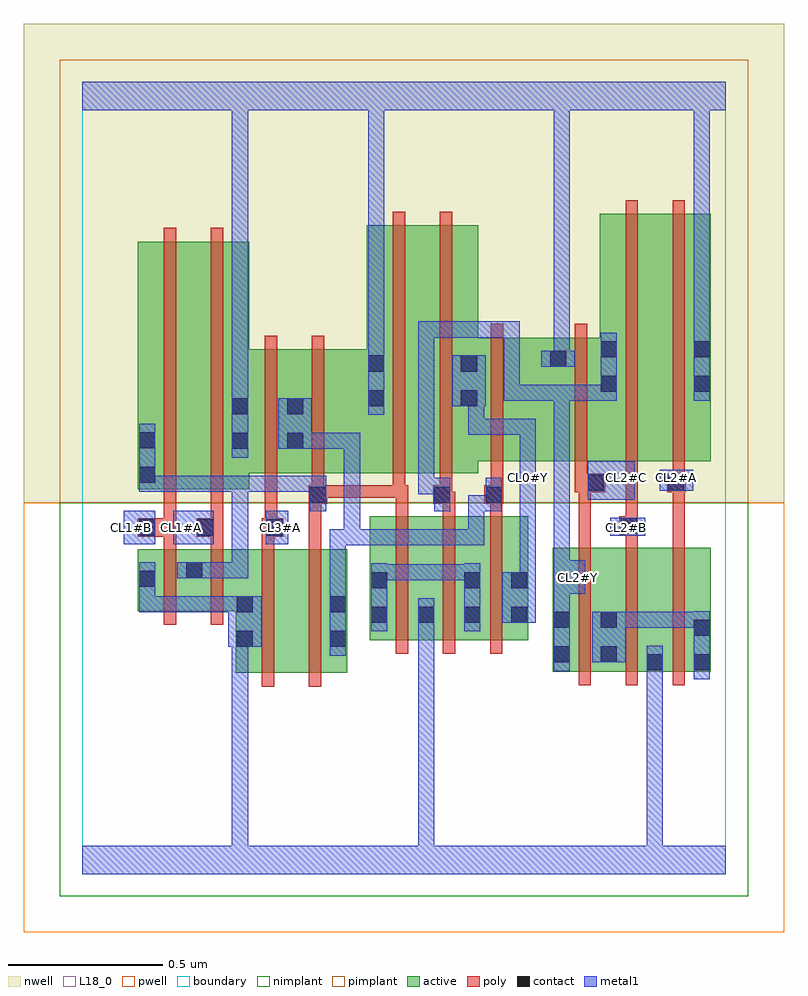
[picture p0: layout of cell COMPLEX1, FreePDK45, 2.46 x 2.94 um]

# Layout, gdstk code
import gdstk
lib = gdstk.Library(unit=1e-6, precision=1e-09)
def R(c, l, rs):  # rectangles x0, y0, x1, y1
    for r in rs: c.add(gdstk.rectangle(r[:2], r[2:], *l))
def A(c, l, x, y, w, h, nx, ny, dx, dy):  # array of equal rectangles
    R(c, l, [(x+i*dx, y+j*dy, x+i*dx+w, y+j*dy+h) for i in range(nx) for j in range(ny)])
active = (1, 0)
pwell = (2, 0)
nwell = (3, 0)
nimplant = (4, 0)
pimplant = (5, 0)
poly = (9, 0)
contact = (10, 0)
metal1 = (11, 0)
L18_0 = (18, 0)
boundary = (235, 0)

complex1 = lib.new_cell('COMPLEX1')
R(complex1, active, [(0.496,0.65,0.676,1.05), (0.676,0.65,0.856,1.05), (0.796,0.65,0.856,1.05), (1.52,0.654,1.58,1.054), (1.52,0.654,1.732,1.054), (1.672,0.654,1.88,1.054), (1.672,0.654,1.732,0.852), (1.82,0.654,2.032,1.054), (1.82,0.654,1.88,0.714), (1.972,0.654,2.032,1.054), (0.496,0.73,0.556,1.008), (0.93,0.756,0.99,1.156), (0.93,0.756,1.142,1.156), (1.082,0.756,1.142,1.156), (1.082,0.756,1.29,1.156), (1.23,0.756,1.29,1.156), (1.23,0.756,1.442,1.156), (1.382,0.756,1.442,1.156), (0.18,0.85,0.392,1.05), (0.18,0.85,0.24,1.05), (0.332,0.85,0.556,1.05), (0.332,0.85,0.392,1.028), (0.18,1.244,0.36,2.044), (0.18,1.244,0.24,2.044), (0.36,1.244,0.54,2.044), (0.48,1.296,0.718,1.696), (0.48,1.296,0.54,2.044), (0.658,1.296,0.718,1.696), (0.658,1.296,0.98,1.696), (0.92,1.296,1.1,2.096), (0.92,1.296,0.98,2.096), (1.1,1.296,1.28,2.096), (1.22,1.334,1.568,1.734), (1.22,1.334,1.28,2.096), (1.508,1.334,1.568,1.734), (1.508,1.334,1.732,1.734), (1.672,1.334,1.852,2.134), (1.672,1.334,1.732,2.134), (1.852,1.334,2.032,2.134), (1.972,1.334,2.032,2.044)])
R(complex1, pwell, [(-0.188,-0.188,2.268,1.2)])
R(complex1, nwell, [(-0.188,1.2,2.268,2.748)])
R(complex1, nimplant, [(-0.072,-0.072,2.152,1.2)])
R(complex1, pimplant, [(-0.072,1.2,2.152,2.632)])
A(complex1, poly, 1.604, 0.61, 0.04, 0.488, 3, 1, 0.152, 0)
A(complex1, poly, 1.014, 0.712, 0.04, 0.488, 3, 1, 0.152, 0)
R(complex1, poly, [(0.58,0.606,0.62,1.094), (0.732,0.606,0.772,1.094), (0.264,0.806,0.304,1.094), (0.416,0.806,0.456,1.094), (0.264,1.054,0.304,1.13), (0.416,1.054,0.456,1.13), (0.58,1.054,0.62,1.13), (0.732,1.054,0.772,1.236), (1.604,1.058,1.644,1.274), (1.756,1.058,1.796,1.136), (1.908,1.058,1.948,1.274), (0.18,1.09,0.304,1.15), (0.264,1.09,0.304,1.13), (0.264,1.09,0.304,1.13), (0.37,1.09,0.456,1.15), (0.416,1.09,0.456,1.13), (0.416,1.09,0.456,1.13), (0.58,1.09,0.65,1.15), (1.736,1.096,1.796,1.156), (0.264,1.11,0.304,1.24), (0.416,1.11,0.456,1.24), (0.59,1.11,0.63,1.15), (0.59,1.11,0.63,1.15), (0.59,1.11,0.63,1.292), (1.756,1.116,1.796,1.156), (1.756,1.116,1.796,1.156), (1.756,1.116,1.796,1.33), (1.014,1.16,1.054,1.256), (1.166,1.16,1.206,1.236), (1.318,1.16,1.358,1.236), (0.732,1.196,0.772,1.236), (0.732,1.196,0.772,1.236), (0.732,1.196,0.792,1.256), (1.134,1.196,1.196,1.256), (1.156,1.196,1.196,1.236), (1.156,1.196,1.206,1.236), (1.3,1.196,1.36,1.256), (0.264,1.2,0.304,2.088), (0.416,1.2,0.456,2.088), (0.742,1.216,0.782,1.292), (0.752,1.216,0.792,1.256), (0.752,1.216,0.792,1.256), (0.752,1.216,1.044,1.256), (1.004,1.216,1.044,1.292), (1.004,1.216,1.044,1.256), (1.004,1.216,1.044,1.256), (1.004,1.216,1.054,1.256), (1.014,1.216,1.054,1.256), (1.014,1.216,1.054,1.256), (1.156,1.216,1.196,1.292), (1.32,1.216,1.36,1.256), (1.32,1.216,1.36,1.256), (1.32,1.216,1.36,1.33), (1.592,1.234,1.69,1.294), (1.604,1.234,1.644,1.274), (1.604,1.234,1.644,1.274), (1.89,1.234,1.95,1.294), (1.908,1.234,1.948,1.274), (1.908,1.234,1.948,1.274), (0.59,1.252,0.63,1.74), (0.742,1.252,0.782,1.74), (1.004,1.252,1.044,2.14), (1.156,1.252,1.196,2.14), (1.592,1.254,1.632,1.33), (1.908,1.254,1.948,1.33), (1.32,1.29,1.36,1.778), (1.592,1.29,1.632,1.778), (1.756,1.29,1.796,2.178), (1.908,1.29,1.948,2.178)])
R(complex1, contact, [(1.824,0.658,1.876,0.71), (1.976,0.658,2.028,0.71), (1.524,0.684,1.576,0.736), (1.676,0.684,1.728,0.736), (0.5,0.734,0.552,0.786), (0.8,0.734,0.852,0.786), (1.976,0.77,2.028,0.822), (1.524,0.796,1.576,0.848), (1.676,0.796,1.728,0.848), (0.934,0.812,0.986,0.864), (1.086,0.812,1.138,0.864), (1.234,0.812,1.286,0.864), (1.386,0.812,1.438,0.864), (0.5,0.846,0.552,0.898), (0.8,0.846,0.852,0.898), (0.934,0.924,0.986,0.976), (1.234,0.924,1.286,0.976), (1.386,0.924,1.438,0.976), (0.184,0.928,0.236,0.98), (0.336,0.956,0.388,1.008), (0.184,1.094,0.236,1.146), (0.374,1.094,0.426,1.146), (0.594,1.094,0.646,1.146), (1.74,1.1,1.792,1.152), (0.736,1.2,0.788,1.252), (1.138,1.2,1.19,1.252), (1.304,1.2,1.356,1.252), (1.634,1.238,1.686,1.29), (1.894,1.238,1.946,1.29), (0.184,1.264,0.236,1.316), (0.484,1.374,0.536,1.426), (0.662,1.374,0.714,1.426), (0.184,1.376,0.236,1.428), (0.484,1.486,0.536,1.538), (0.662,1.486,0.714,1.538), (0.924,1.512,0.976,1.564), (1.224,1.512,1.276,1.564), (1.676,1.558,1.728,1.61), (1.976,1.558,2.028,1.61), (0.924,1.624,0.976,1.676), (1.224,1.624,1.276,1.676), (1.512,1.64,1.564,1.692), (1.676,1.67,1.728,1.722), (1.976,1.67,2.028,1.722)])
R(complex1, metal1, [(0,0,2.08,0.092), (0.484,0.04,0.536,0.092), (0.484,0.04,0.536,0.092), (0.484,0.04,0.536,0.092), (0.484,0.04,0.536,0.092), (0.484,0.04,0.536,0.092), (0.484,0.04,0.536,0.092), (0.484,0.04,0.536,0.092), (0.484,0.04,0.536,0.092), (0.484,0.04,0.536,0.092), (0.484,0.04,0.536,0.092), (0.484,0.04,0.536,0.786), (1.086,0.04,1.138,0.092), (1.086,0.04,1.138,0.092), (1.086,0.04,1.138,0.092), (1.086,0.04,1.138,0.092), (1.086,0.04,1.138,0.092), (1.086,0.04,1.138,0.092), (1.086,0.04,1.138,0.092), (1.086,0.04,1.138,0.092), (1.086,0.04,1.138,0.092), (1.086,0.04,1.138,0.092), (1.086,0.04,1.138,0.092), (1.086,0.04,1.138,0.092), (1.086,0.04,1.138,0.836), (1.824,0.04,1.876,0.092), (1.824,0.04,1.876,0.092), (1.824,0.04,1.876,0.092), (1.824,0.04,1.876,0.092), (1.824,0.04,1.876,0.092), (1.824,0.04,1.876,0.092), (1.824,0.04,1.876,0.092), (1.824,0.04,1.876,0.092), (1.824,0.04,1.876,0.682), (1.824,0.63,1.876,0.682), (1.824,0.63,1.876,0.682), (1.824,0.63,1.876,0.682), (1.824,0.63,1.876,0.682), (1.824,0.63,1.876,0.738), (1.976,0.63,2.028,0.85), (1.524,0.656,1.576,0.876), (1.648,0.684,1.756,0.848), (0.8,0.706,0.852,0.926), (0.472,0.734,0.58,0.898), (0.484,0.734,0.536,0.786), (0.484,0.734,0.536,0.786), (0.934,0.784,0.986,1.004), (1.086,0.784,1.138,0.892), (1.234,0.784,1.286,1.004), (1.704,0.796,1.756,0.848), (1.704,0.796,1.756,0.848), (1.704,0.796,1.918,0.848), (1.866,0.796,1.918,0.848), (1.866,0.796,1.918,0.848), (1.866,0.796,1.918,0.848), (1.866,0.796,2.028,0.848), (1.358,0.812,1.466,0.976), (1.524,0.824,1.576,0.958), (0.184,0.846,0.236,0.898), (0.184,0.846,0.236,0.898), (0.184,0.846,0.236,0.898), (0.184,0.846,0.414,0.898), (0.184,0.846,0.236,0.952), (0.362,0.846,0.414,0.898), (0.362,0.846,0.414,0.898), (0.362,0.846,0.414,0.898), (0.362,0.846,0.414,0.898), (0.362,0.846,0.414,0.898), (0.362,0.846,0.524,0.898), (0.8,0.874,0.852,1.114), (0.184,0.9,0.236,1.008), (1.524,0.906,1.626,1.014), (1.414,0.924,1.466,1.278), (0.934,0.95,1.028,1.002), (0.976,0.95,1.028,1.002), (0.976,0.95,1.138,1.002), (1.086,0.95,1.138,1.002), (1.086,0.95,1.138,1.002), (1.086,0.95,1.138,1.002), (1.086,0.95,1.286,1.002), (0.308,0.956,0.416,1.008), (0.362,0.956,0.414,1.008), (0.362,0.956,0.414,1.008), (0.362,0.956,0.414,1.008), (0.362,0.956,0.414,1.008), (0.362,0.956,0.536,1.008), (0.484,0.956,0.536,1.008), (0.484,0.956,0.536,1.288), (1.524,0.962,1.576,1.582), (0.8,1.062,0.898,1.114), (0.846,1.062,0.898,1.114), (0.846,1.062,0.898,1.114), (0.846,1.062,1.028,1.114), (0.846,1.062,0.898,1.426), (0.976,1.062,1.028,1.114), (0.976,1.062,1.138,1.114), (1.086,1.062,1.138,1.114), (1.086,1.062,1.138,1.114), (1.086,1.062,1.138,1.114), (1.086,1.062,1.3,1.114), (1.248,1.062,1.3,1.224), (0.134,1.066,0.236,1.174), (0.294,1.066,0.426,1.174), (0.594,1.066,0.666,1.174), (1.706,1.094,1.82,1.152), (0.736,1.172,0.788,1.288), (1.138,1.172,1.19,1.28), (1.248,1.172,1.356,1.224), (1.304,1.172,1.356,1.28), (1.634,1.21,1.786,1.334), (1.414,1.226,1.466,1.334), (1.086,1.228,1.138,1.28), (1.086,1.228,1.138,1.28), (1.086,1.228,1.138,1.28), (1.086,1.228,1.19,1.28), (1.086,1.228,1.138,1.786), (0.184,1.236,0.236,1.288), (0.184,1.236,0.236,1.288), (0.184,1.236,0.236,1.456), (0.184,1.236,0.414,1.288), (0.362,1.236,0.414,1.288), (0.362,1.236,0.414,1.288), (0.362,1.236,0.414,1.288), (0.362,1.236,0.536,1.288), (0.484,1.236,0.536,1.288), (0.484,1.236,0.536,1.288), (0.484,1.236,0.536,1.288), (0.484,1.236,0.536,1.288), (0.484,1.236,0.536,1.288), (0.484,1.236,0.742,1.288), (0.69,1.236,0.742,1.288), (0.69,1.236,0.788,1.288), (1.866,1.238,1.974,1.306), (1.414,1.282,1.466,1.472), (0.484,1.346,0.536,1.566), (0.634,1.374,0.742,1.538), (0.69,1.374,0.742,1.426), (0.69,1.374,0.742,1.426), (0.69,1.374,0.898,1.426), (0.846,1.374,0.898,1.426), (0.846,1.374,0.898,1.426), (0.846,1.374,0.898,1.426), (1.248,1.42,1.3,1.472), (1.248,1.42,1.3,1.472), (1.248,1.42,1.3,1.472), (1.248,1.42,1.466,1.472), (1.248,1.42,1.3,1.564), (1.414,1.42,1.466,1.472), (0.924,1.484,0.976,1.704), (1.196,1.512,1.304,1.676), (0.484,1.514,0.536,2.52), (1.362,1.53,1.414,1.582), (1.362,1.53,1.576,1.582), (1.362,1.53,1.414,1.786), (1.524,1.53,1.576,1.582), (1.524,1.53,1.576,1.582), (1.524,1.53,1.576,1.582), (1.524,1.53,1.576,1.582), (1.524,1.53,1.576,1.582), (1.524,1.53,1.728,1.582), (1.676,1.53,1.728,1.75), (1.976,1.53,2.028,1.75), (1.484,1.64,1.592,1.692), (1.524,1.64,1.576,1.692), (1.524,1.64,1.576,1.692), (1.524,1.64,1.576,2.52), (0.924,1.652,0.976,1.704), (0.924,1.652,0.976,1.704), (0.924,1.652,0.976,1.704), (0.924,1.652,0.976,1.704), (0.924,1.652,0.976,1.704), (0.924,1.652,0.976,1.704), (0.924,1.652,0.976,2.52), (1.976,1.698,2.028,1.75), (1.976,1.698,2.028,1.75), (1.976,1.698,2.028,2.52), (1.086,1.734,1.138,1.786), (1.086,1.734,1.138,1.786), (1.086,1.734,1.138,1.786), (1.086,1.734,1.248,1.786), (1.196,1.734,1.248,1.786), (1.196,1.734,1.414,1.786), (1.362,1.734,1.414,1.786), (1.362,1.734,1.414,1.786), (1.362,1.734,1.414,1.786), (0,2.468,2.08,2.56), (0.484,2.468,0.536,2.52), (0.484,2.468,0.536,2.52), (0.484,2.468,0.536,2.52), (0.484,2.468,0.536,2.52), (0.484,2.468,0.536,2.52), (0.484,2.468,0.536,2.52), (0.484,2.468,0.536,2.52), (0.484,2.468,0.536,2.52), (0.924,2.468,0.976,2.52), (0.924,2.468,0.976,2.52), (1.524,2.468,1.576,2.52), (1.524,2.468,1.576,2.52), (1.524,2.468,1.576,2.52), (1.524,2.468,1.576,2.52), (1.524,2.468,1.576,2.52), (1.524,2.468,1.576,2.52), (1.524,2.468,1.576,2.52), (1.524,2.468,1.576,2.52), (1.524,2.468,1.576,2.52), (1.524,2.468,1.576,2.52), (1.524,2.468,1.576,2.52), (1.524,2.468,1.576,2.52), (1.524,2.468,1.576,2.52), (1.524,2.468,1.576,2.52), (1.976,2.468,2.028,2.52), (1.976,2.468,2.028,2.52), (1.976,2.468,2.028,2.52), (1.976,2.468,2.028,2.52), (1.976,2.468,2.028,2.52), (1.976,2.468,2.028,2.52)])
R(complex1, L18_0, [(0,0,2.08,0.092), (0.484,0.04,0.536,0.092), (0.484,0.04,0.536,0.092), (0.484,0.04,0.536,0.092), (0.484,0.04,0.536,0.092), (0.484,0.04,0.536,0.092), (0.484,0.04,0.536,0.092), (0.484,0.04,0.536,0.092), (0.484,0.04,0.536,0.092), (0.484,0.04,0.536,0.092), (0.484,0.04,0.536,0.092), (0.484,0.04,0.536,0.786), (1.086,0.04,1.138,0.092), (1.086,0.04,1.138,0.092), (1.086,0.04,1.138,0.092), (1.086,0.04,1.138,0.092), (1.086,0.04,1.138,0.092), (1.086,0.04,1.138,0.092), (1.086,0.04,1.138,0.092), (1.086,0.04,1.138,0.092), (1.086,0.04,1.138,0.092), (1.086,0.04,1.138,0.092), (1.086,0.04,1.138,0.092), (1.086,0.04,1.138,0.092), (1.086,0.04,1.138,0.836), (1.824,0.04,1.876,0.092), (1.824,0.04,1.876,0.092), (1.824,0.04,1.876,0.092), (1.824,0.04,1.876,0.092), (1.824,0.04,1.876,0.092), (1.824,0.04,1.876,0.092), (1.824,0.04,1.876,0.092), (1.824,0.04,1.876,0.092), (1.824,0.04,1.876,0.682), (1.824,0.63,1.876,0.682), (1.824,0.63,1.876,0.682), (1.824,0.63,1.876,0.682), (1.824,0.63,1.876,0.682), (1.824,0.63,1.876,0.738), (1.524,0.656,1.576,0.876), (0.472,0.734,0.58,0.898), (0.484,0.734,0.536,0.786), (0.484,0.734,0.536,0.786), (1.086,0.784,1.138,0.892), (1.358,0.812,1.466,0.976), (1.524,0.824,1.576,0.958), (0.184,0.846,0.236,0.898), (0.184,0.846,0.236,0.898), (0.184,0.846,0.236,0.898), (0.184,0.846,0.236,0.952), (0.184,0.846,0.414,0.898), (0.362,0.846,0.414,0.898), (0.362,0.846,0.414,0.898), (0.362,0.846,0.414,0.898), (0.362,0.846,0.414,0.898), (0.362,0.846,0.414,0.898), (0.362,0.846,0.524,0.898), (0.184,0.9,0.236,1.008), (1.524,0.906,1.626,1.014), (1.414,0.924,1.466,1.278), (1.574,0.934,1.626,0.986), (1.524,0.962,1.576,1.582), (0.134,1.066,0.236,1.174), (0.294,1.066,0.426,1.174), (0.594,1.066,0.666,1.174), (0.134,1.094,0.186,1.146), (0.294,1.094,0.346,1.146), (0.614,1.094,0.666,1.146), (1.706,1.094,1.82,1.152), (1.734,1.094,1.786,1.146), (1.138,1.172,1.19,1.28), (1.634,1.21,1.786,1.334), (1.414,1.226,1.466,1.334), (1.086,1.228,1.138,1.28), (1.086,1.228,1.138,1.28), (1.086,1.228,1.138,1.28), (1.086,1.228,1.138,1.786), (1.086,1.228,1.19,1.28), (1.866,1.238,1.974,1.306), (1.414,1.254,1.466,1.306), (1.734,1.254,1.786,1.306), (1.894,1.254,1.946,1.306), (1.414,1.282,1.466,1.472), (0.484,1.346,0.536,1.566), (1.248,1.42,1.3,1.472), (1.248,1.42,1.3,1.472), (1.248,1.42,1.3,1.472), (1.248,1.42,1.3,1.564), (1.248,1.42,1.466,1.472), (1.414,1.42,1.466,1.472), (0.924,1.484,0.976,1.704), (1.196,1.512,1.304,1.676), (0.484,1.514,0.536,2.52), (1.362,1.53,1.414,1.582), (1.362,1.53,1.414,1.786), (1.362,1.53,1.576,1.582), (1.524,1.53,1.576,1.582), (1.524,1.53,1.576,1.582), (1.524,1.53,1.576,1.582), (1.524,1.53,1.576,1.582), (1.524,1.53,1.576,1.582), (1.524,1.53,1.728,1.582), (1.676,1.53,1.728,1.75), (1.976,1.53,2.028,1.75), (1.484,1.64,1.592,1.692), (1.524,1.64,1.576,1.692), (1.524,1.64,1.576,1.692), (1.524,1.64,1.576,2.52), (0.924,1.652,0.976,1.704), (0.924,1.652,0.976,1.704), (0.924,1.652,0.976,1.704), (0.924,1.652,0.976,1.704), (0.924,1.652,0.976,1.704), (0.924,1.652,0.976,1.704), (0.924,1.652,0.976,2.52), (1.976,1.698,2.028,1.75), (1.976,1.698,2.028,1.75), (1.976,1.698,2.028,2.52), (1.086,1.734,1.138,1.786), (1.086,1.734,1.138,1.786), (1.086,1.734,1.138,1.786), (1.086,1.734,1.248,1.786), (1.196,1.734,1.248,1.786), (1.196,1.734,1.414,1.786), (1.362,1.734,1.414,1.786), (1.362,1.734,1.414,1.786), (1.362,1.734,1.414,1.786), (0,2.468,2.08,2.56), (0.484,2.468,0.536,2.52), (0.484,2.468,0.536,2.52), (0.484,2.468,0.536,2.52), (0.484,2.468,0.536,2.52), (0.484,2.468,0.536,2.52), (0.484,2.468,0.536,2.52), (0.484,2.468,0.536,2.52), (0.484,2.468,0.536,2.52), (0.924,2.468,0.976,2.52), (0.924,2.468,0.976,2.52), (1.524,2.468,1.576,2.52), (1.524,2.468,1.576,2.52), (1.524,2.468,1.576,2.52), (1.524,2.468,1.576,2.52), (1.524,2.468,1.576,2.52), (1.524,2.468,1.576,2.52), (1.524,2.468,1.576,2.52), (1.524,2.468,1.576,2.52), (1.524,2.468,1.576,2.52), (1.524,2.468,1.576,2.52), (1.524,2.468,1.576,2.52), (1.524,2.468,1.576,2.52), (1.524,2.468,1.576,2.52), (1.524,2.468,1.576,2.52), (1.976,2.468,2.028,2.52), (1.976,2.468,2.028,2.52), (1.976,2.468,2.028,2.52), (1.976,2.468,2.028,2.52), (1.976,2.468,2.028,2.52), (1.976,2.468,2.028,2.52)])
R(complex1, boundary, [(0,0,2.08,2.56)])
complex1.add(gdstk.Label('CL0#Y', (1.44,1.28), layer=11, texttype=0))
complex1.add(gdstk.Label('CL1#A', (0.32,1.12), layer=11, texttype=0))
complex1.add(gdstk.Label('CL1#B', (0.16,1.12), layer=11, texttype=0))
complex1.add(gdstk.Label('CL2#A', (1.92,1.28), layer=11, texttype=0))
complex1.add(gdstk.Label('CL2#B', (1.76,1.12), layer=11, texttype=0))
complex1.add(gdstk.Label('CL2#C', (1.76,1.28), layer=11, texttype=0))
complex1.add(gdstk.Label('CL2#Y', (1.6,0.96), layer=11, texttype=0))
complex1.add(gdstk.Label('CL3#A', (0.64,1.12), layer=11, texttype=0))

lib.write_gds('COMPLEX1.gds')
